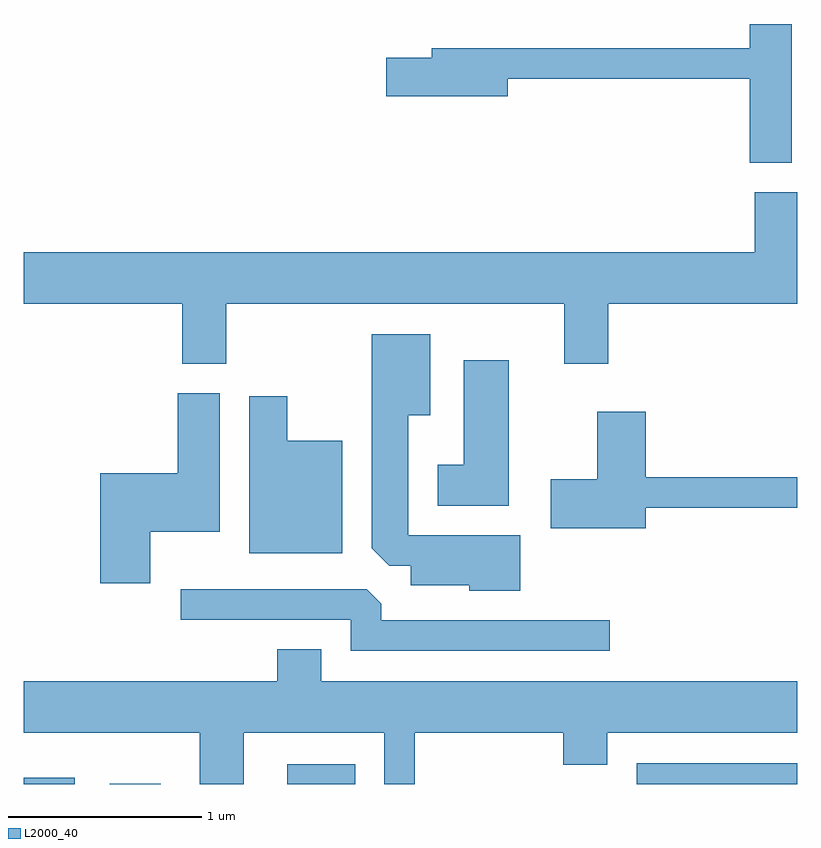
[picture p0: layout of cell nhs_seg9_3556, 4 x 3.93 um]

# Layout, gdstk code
import gdstk
lib = gdstk.Library(unit=1e-6, precision=1e-09)
def R(c, l, rs):  # rectangles x0, y0, x1, y1
    for r in rs: c.add(gdstk.rectangle(r[:2], r[2:], *l))
def P(c, l, *ps):  # polygons
    for p in ps: c.add(gdstk.Polygon(p, *l))
L2000_40 = (2000, 40)

nhs_seg9_3556 = lib.new_cell('nhs_seg9_3556')
R(nhs_seg9_3556, L2000_40, [(289.611,2000.432,289.874,2000.464), (290.056,2000.432,290.319,2000.434), (290.973,2000.432,291.324,2000.534), (292.781,2000.432,293.611,2000.539)])
P(nhs_seg9_3556, L2000_40, [(293.584,2004.364),(293.366,2004.364),(293.366,2004.239),(291.721,2004.239),(291.721,2004.189),(291.486,2004.189),(291.486,2003.991),(292.114,2003.991),(292.114,2004.081),(293.366,2004.081),(293.366,2003.646),(293.584,2003.646)],
  [(290.659,2002.916),(292.406,2002.916),(292.406,2002.606),(292.634,2002.606),(292.634,2002.916),(293.611,2002.916),(293.611,2003.494),(293.391,2003.494),(293.391,2003.184),(289.611,2003.184),(289.611,2002.916),(290.431,2002.916),(290.431,2002.606),(290.659,2002.606)],
  [(292.179,2001.719),(291.599,2001.719),(291.599,2002.341),(291.714,2002.341),(291.714,2002.759),(291.411,2002.759),(291.411,2001.652),(291.502,2001.561),(291.611,2001.561),(291.611,2001.461),(291.916,2001.461),(291.916,2001.431),(292.179,2001.431)],
  [(292.119,2002.624),(291.886,2002.624),(291.886,2002.084),(291.751,2002.084),(291.751,2001.871),(292.119,2001.871)],
  [(290.264,2001.736),(290.624,2001.736),(290.624,2002.454),(290.406,2002.454),(290.406,2002.039),(290.006,2002.039),(290.006,2001.471),(290.264,2001.471)],
  [(291.259,2002.209),(290.974,2002.209),(290.974,2002.439),(290.776,2002.439),(290.776,2001.626),(291.259,2001.626)],
  [(292.829,2001.861),(293.611,2001.861),(293.611,2002.019),(292.829,2002.019),(292.829,2002.359),(292.576,2002.359),(292.576,2002.009),(292.336,2002.009),(292.336,2001.756),(292.829,2001.756)],
  [(292.643,2001.279),(291.459,2001.279),(291.459,2001.364),(291.384,2001.439),(290.423,2001.439),(290.423,2001.281),(291.301,2001.281),(291.301,2001.121),(292.643,2001.121)],
  [(290.749,2000.696),(291.476,2000.696),(291.476,2000.432),(291.634,2000.432),(291.634,2000.696),(292.401,2000.696),(292.401,2000.531),(292.629,2000.531),(292.629,2000.696),(293.611,2000.696),(293.611,2000.964),(291.149,2000.964),(291.149,2001.129),(290.921,2001.129),(290.921,2000.964),(289.611,2000.964),(289.611,2000.696),(290.521,2000.696),(290.521,2000.432),(290.749,2000.432)])

lib.write_gds('nhs_seg9_3556.gds')
